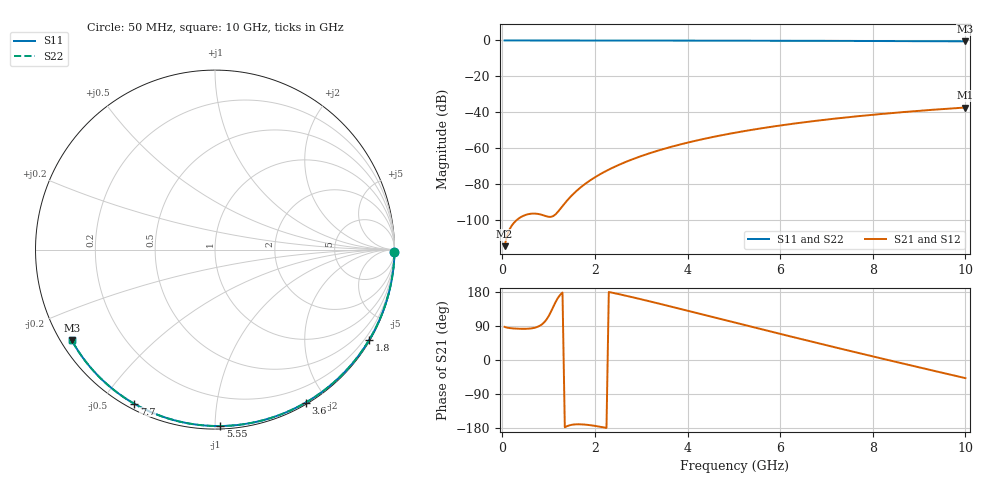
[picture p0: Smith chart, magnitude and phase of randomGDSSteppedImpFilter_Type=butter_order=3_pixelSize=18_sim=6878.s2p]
! freq	dB(S11)	phase(S11)	dB(S12)	phase(S12)
!  dB(S21)	phase(S21)	dB(S22)	phase(S22)
!S-par simulation data
#  GHz  S  DB  R 50
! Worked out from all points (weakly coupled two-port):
!   200 points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, 50 MHz to 10 GHz, reference 50 ohm
!   highest |S21| = -37.26 dB at 10 GHz (marker M1); lowest = -114.3 dB at 50 MHz (marker M2)
!   lowest |S11| = -0.5 dB at 10 GHz (marker M3), VSWR 35.09, Z = 1.54 - j14.5 ohm
!   |S11| at or under -10 dB: nowhere
!   |S22| runs from -0.5 to 0.0 dB; largest |S21 - S12| = 0
!   S11 on the Smith chart (normalised r, x): 50 MHz: open; 1.8 GHz: 0.03, -3.67; 3.6 GHz: 0.02, -1.75; 5.55 GHz: 0.02, -1.03; 7.7 GHz: 0.02, -0.60; 10 GHz: 0.03, -0.29
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0.05  -0.00 -0.9  -114.28 87.4  -114.28 87.4  -0.00 -0.9
0.45  -0.01 -7.7  -97.47 82.2  -97.47 82.2  -0.01 -7.7
0.9  -0.02 -15.4  -97.25 98.8  -97.25 98.8  -0.02 -15.4
1.3  -0.03 -22.1  -92.01 178.1  -92.01 178.1  -0.03 -22.1
1.75  -0.04 -29.6  -80.44 -170.1  -80.44 -170.1  -0.04 -29.6
1.8  -0.04 -30.5  -79.47 -170.6  -79.47 -170.6  -0.04 -30.5
1.95  -0.04 -32.9  -76.83 -172.9  -76.83 -172.9  -0.04 -32.9
2.1  -0.04 -35.4  -74.50 -175.8  -74.50 -175.8  -0.04 -35.4
2.3  -0.05 -38.7  -71.74 179.5  -71.74 179.5  -0.05 -38.7
2.5  -0.05 -41.9  -69.31 174.3  -69.31 174.3  -0.05 -41.9
2.9  -0.06 -48.3  -65.15 163.1  -65.15 163.1  -0.06 -48.3
3.4  -0.07 -56.2  -60.90 148.3  -60.90 148.3  -0.07 -56.2
3.6  -0.08 -59.4  -59.43 142.3  -59.43 142.3  -0.08 -59.4
4.3  -0.10 -70.0  -54.98 120.9  -54.98 120.9  -0.10 -70.0
5.05  -0.12 -81.1  -51.14 97.9  -51.14 97.9  -0.12 -81.1
5.55  -0.14 -88.3  -48.98 82.6  -48.98 82.6  -0.14 -88.3
6.1  -0.17 -96.0  -46.88 65.9  -46.88 65.9  -0.17 -96.1
6.7  -0.20 -104.3  -44.87 47.9  -44.87 47.9  -0.20 -104.3
7.7  -0.27 -117.7  -42.03 18.3  -42.03 18.3  -0.27 -117.7
8.35  -0.32 -126.2  -40.47 -0.7  -40.47 -0.7  -0.32 -126.2
9.2  -0.40 -137.2  -38.69 -25.1  -38.69 -25.1  -0.40 -137.3
10  -0.50 -147.6  -37.26 -47.8  -37.26 -47.8  -0.50 -147.6
